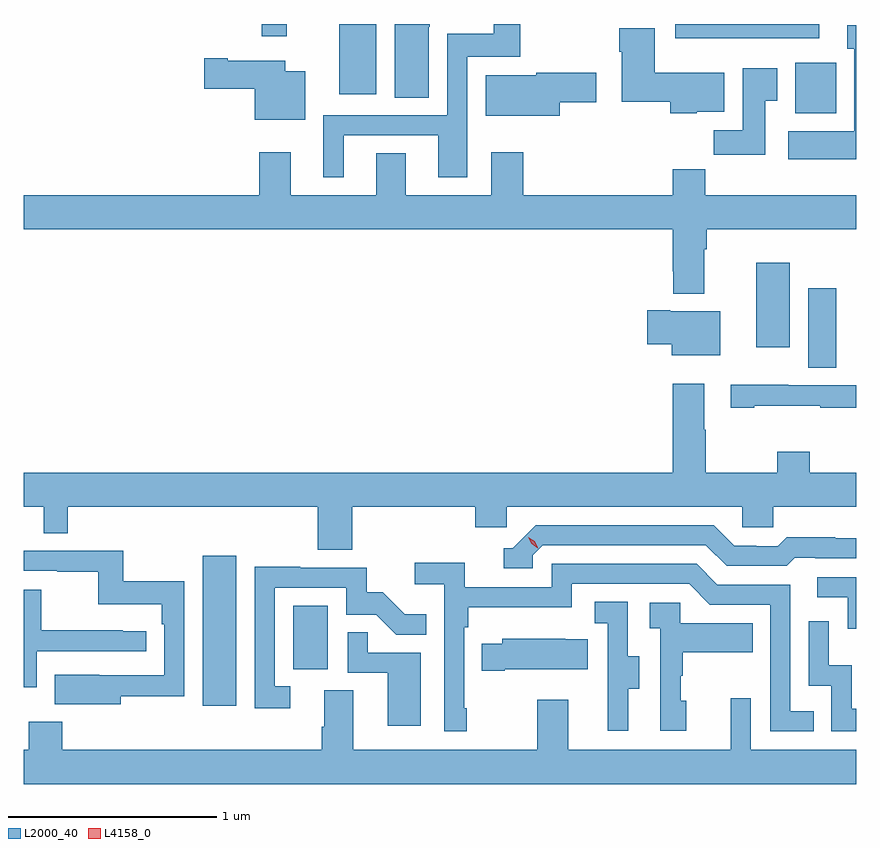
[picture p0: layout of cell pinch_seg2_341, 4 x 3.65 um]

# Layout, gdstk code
import gdstk
lib = gdstk.Library(unit=1e-6, precision=1e-09)
def R(c, l, rs):  # rectangles x0, y0, x1, y1
    for r in rs: c.add(gdstk.rectangle(r[:2], r[2:], *l))
def P(c, l, *ps):  # polygons
    for p in ps: c.add(gdstk.Polygon(p, *l))
L2000_40 = (2000, 40)
L4158_0 = (4158, 0)

pinch_seg2_341 = lib.new_cell('pinch_seg2_341')
R(pinch_seg2_341, L2000_40, [(976.073,641.352,976.234,642.073), (976.508,641.526,976.672,641.833), (978.98,642.976,979.114,643.357), (978.731,643.074,978.892,643.48), (978.917,644.198,979.114,644.44), (976.727,644.288,976.906,644.626), (978.341,644.558,979.033,644.626), (976.357,644.568,976.476,644.626)])
P(pinch_seg2_341, L2000_40, [(977.158,644.613),(977.163,644.613),(977.163,644.626),(976.994,644.626),(976.994,644.272),(977.158,644.272)],
  [(976.75,644.091),(977.204,644.091),(977.204,643.89),(977.343,643.89),(977.343,644.469),(977.597,644.469),(977.597,644.626),(977.469,644.626),(977.469,644.578),(977.247,644.578),(977.247,644.187),(976.652,644.187),(976.652,643.89),(976.75,643.89)],
  [(979.212,644.62),(979.169,644.62),(979.169,644.507),(979.202,644.507),(979.202,644.11),(978.885,644.11),(978.885,643.976),(979.212,643.976)],
  [(978.444,644.204),(978.577,644.204),(978.577,644.392),(978.244,644.392),(978.244,644.605),(978.074,644.605),(978.074,644.492),(978.086,644.492),(978.086,644.252),(978.319,644.252),(978.319,644.198),(978.444,644.198)],
  [(976.564,644.398),(976.468,644.398),(976.468,644.449),(976.192,644.449),(976.192,644.462),(976.08,644.462),(976.08,644.315),(976.322,644.315),(976.322,644.165),(976.564,644.165)],
  [(978.775,644.257),(978.832,644.257),(978.832,644.413),(978.665,644.413),(978.665,644.116),(978.526,644.116),(978.526,643.998),(978.775,643.998)],
  [(977.788,644.251),(977.962,644.251),(977.962,644.393),(977.674,644.393),(977.674,644.38),(977.432,644.38),(977.432,644.186),(977.788,644.186)],
  [(978.481,643.544),(978.494,643.544),(978.494,643.64),(979.212,643.64),(979.212,643.804),(978.485,643.804),(978.485,643.928),(978.329,643.928),(978.329,643.804),(977.612,643.804),(977.612,644.011),(977.459,644.011),(977.459,643.804),(977.047,643.804),(977.047,644.006),(976.907,644.006),(976.907,643.804),(976.495,643.804),(976.495,644.011),(976.343,644.011),(976.343,643.804),(975.212,643.804),(975.212,643.64),(978.329,643.64),(978.329,643.438),(978.332,643.438),(978.332,643.331),(978.481,643.331)],
  [(978.559,643.246),(978.319,643.246),(978.319,643.251),(978.207,643.251),(978.207,643.088),(978.326,643.088),(978.326,643.034),(978.559,643.034)],
  [(976.79,642.308),(977.381,642.308),(977.381,642.21),(977.532,642.21),(977.532,642.308),(978.663,642.308),(978.663,642.21),(978.813,642.21),(978.813,642.308),(979.212,642.308),(979.212,642.472),(978.987,642.472),(978.987,642.571),(978.832,642.571),(978.832,642.472),(978.489,642.472),(978.489,642.677),(978.481,642.677),(978.481,642.898),(978.329,642.898),(978.329,642.472),(975.212,642.472),(975.212,642.308),(975.309,642.308),(975.309,642.181),(975.425,642.181),(975.425,642.308),(976.625,642.308),(976.625,642.1),(976.79,642.1)],
  [(978.721,642.793),(979.037,642.793),(979.037,642.783),(979.212,642.783),(979.212,642.891),(978.884,642.891),(978.884,642.893),(978.609,642.893),(978.609,642.783),(978.721,642.783)],
  [(977.658,642.075),(977.706,642.123),(978.489,642.123),(978.588,642.024),(978.877,642.024),(978.916,642.063),(979.015,642.063),(979.015,642.06),(979.212,642.06),(979.212,642.157),(979.11,642.157),(979.11,642.16),(978.877,642.16),(978.835,642.117),(978.732,642.117),(978.732,642.12),(978.625,642.12),(978.526,642.219),(977.673,642.219),(977.562,642.108),(977.519,642.108),(977.519,642.012),(977.658,642.012)],
  [(975.679,641.398),(975.984,641.398),(975.984,641.95),(975.691,641.95),(975.691,642.096),(975.212,642.096),(975.212,642),(975.373,642),(975.373,641.995),(975.57,641.995),(975.57,641.84),(975.875,641.84),(975.875,641.744),(975.888,641.744),(975.888,641.499),(975.575,641.499),(975.575,641.5),(975.361,641.5),(975.361,641.36),(975.679,641.36)],
  [(977.341,641.341),(977.328,641.341),(977.328,641.729),(977.348,641.729),(977.348,641.825),(977.844,641.825),(977.844,641.937),(978.408,641.937),(978.507,641.838),(978.798,641.838),(978.798,641.229),(979.007,641.229),(979.007,641.325),(978.894,641.325),(978.894,641.934),(978.544,641.934),(978.445,642.033),(977.748,642.033),(977.748,641.922),(977.33,641.922),(977.33,642.038),(977.091,642.038),(977.091,641.936),(977.232,641.936),(977.232,641.229),(977.341,641.229)],
  [(976.492,641.445),(976.419,641.445),(976.419,641.919),(976.761,641.919),(976.761,641.79),(976.905,641.79),(977.003,641.692),(977.147,641.692),(977.147,641.791),(977.043,641.791),(976.936,641.898),(976.86,641.898),(976.86,642.015),(976.541,642.015),(976.541,642.02),(976.323,642.02),(976.323,641.34),(976.492,641.34)],
  [(979.212,641.97),(979.023,641.97),(979.023,641.874),(979.17,641.874),(979.17,641.721),(979.212,641.721)],
  [(975.276,641.613),(975.802,641.613),(975.802,641.709),(975.689,641.709),(975.689,641.714),(975.296,641.714),(975.296,641.91),(975.212,641.91),(975.212,641.441),(975.276,641.441)],
  [(978.115,641.434),(978.169,641.434),(978.169,641.589),(978.114,641.589),(978.114,641.852),(977.955,641.852),(977.955,641.749),(978.018,641.749),(978.018,641.445),(978.017,641.445),(978.017,641.232),(978.115,641.232)],
  [(978.394,641.376),(978.369,641.376),(978.369,641.495),(978.379,641.495),(978.379,641.609),(978.713,641.609),(978.713,641.749),(978.366,641.749),(978.366,641.847),(978.219,641.847),(978.219,641.723),(978.27,641.723),(978.27,641.232),(978.394,641.232)],
  [(979.212,641.338),(979.19,641.338),(979.19,641.546),(979.08,641.546),(979.08,641.758),(978.984,641.758),(978.984,641.448),(979.092,641.448),(979.092,641.229),(979.212,641.229)],
  [(977.119,641.607),(976.865,641.607),(976.865,641.705),(976.77,641.705),(976.77,641.511),(976.961,641.511),(976.961,641.256),(977.119,641.256)],
  [(977.524,641.528),(977.921,641.528),(977.921,641.671),(977.813,641.671),(977.813,641.674),(977.511,641.674),(977.511,641.65),(977.413,641.65),(977.413,641.521),(977.524,641.521)],
  [(979.212,641.14),(978.705,641.14),(978.705,641.389),(978.608,641.389),(978.608,641.14),(977.827,641.14),(977.827,641.38),(977.68,641.38),(977.68,641.14),(976.795,641.14),(976.795,641.426),(976.655,641.426),(976.655,641.252),(976.643,641.252),(976.643,641.14),(975.398,641.14),(975.398,641.275),(975.238,641.275),(975.238,641.14),(975.212,641.14),(975.212,640.976),(979.212,640.976)])
P(pinch_seg2_341, L4158_0, [(977.682,642.109),(977.652,642.129),(977.636,642.162),(977.636,642.162),(977.636,642.162),(977.667,642.142),(977.682,642.11),(977.682,642.109)])

lib.write_gds('pinch_seg2_341.gds')
